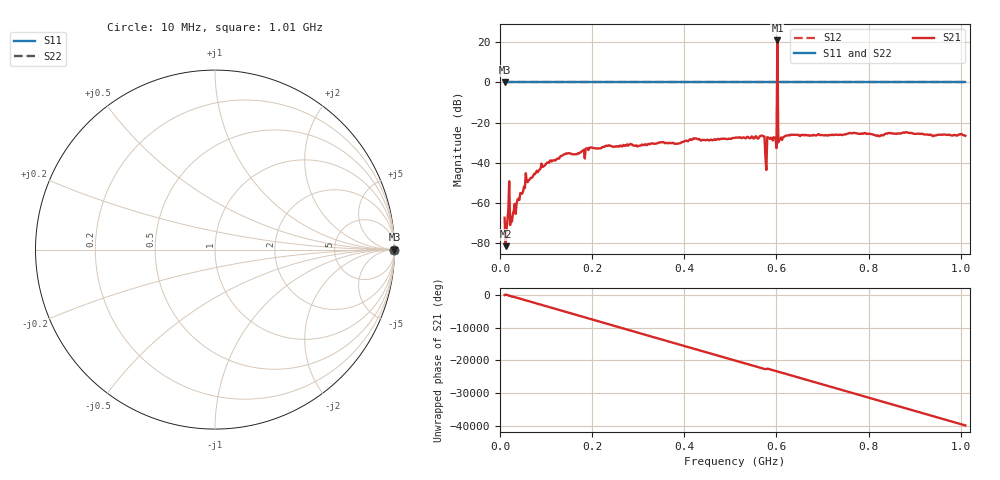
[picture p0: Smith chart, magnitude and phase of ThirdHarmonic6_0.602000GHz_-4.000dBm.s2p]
! 8/15/2025 7:38:47 PM
! C:\ANRITSUVNA\TEMP\TEMP.S2P
! CHANNEL.1
! TR.MEASUREMENT
! RAW.DATA
! RF.CORRECTION.OFF
! AVERAGING.OFF
! IF.BANDWIDTH: 5KHZ
! SWEEPTYPE:  FREQ.SWEEP(Linear)
! Reference Plane Port Info
! PORT:  PORT1  PORT2
! DISTANCE:  0  m  0  m
! TIME:  0  s  0  s
! PHASE.OFFSET:  0  deg.  0  deg.
! LOSS:  0  dB  0  dB
! REF.LOSS:  0  dB  0  dB
! REF.FREQ:  0  Hz  0  Hz
! Power Info
! POWER:  -20  dBm  -20  dBm
! EFF.POWER:  -20  dBm  -20  dBm
! SOURCE.ATTEN:  0  dB  0  dB
! TEST.ATTEN:  0  dB  0  dB
# GHZ S RI R 50.0
! FREQ.GHZ  S11RE  S11IM  S21RE  S21IM  S12RE  S12IM  S22RE  S22IM
!; PortSelection: Port_12
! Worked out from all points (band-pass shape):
!   501 points, 10 MHz to 1.01 GHz, reference 50 ohm
!   highest |S21| = 20.89 dB at 602 MHz (marker M1); lowest = -81.6 dB at 12 MHz (marker M2)
!   |S21| within 3 dB of the highest: 601.8881 MHz to 602.1182 MHz (230 kHz wide, 0.0382 % of centre)
!   lowest |S11| = 0.0 dB at 10 MHz (marker M3)
!   |S11| at or under -10 dB: nowhere
!   |S22| runs from 0.0 to 0.0 dB; largest |S21 - S12| = 11
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0.01  1 0  -5.37e-05 -0.000422  1 0  1 0
0.012  1 0  3.31e-05 7.65e-05  1 0  1 0
0.02  1 0  0.0023 0.00256  1 0  1 0
0.024  1 0  0.000177 -0.000412  1 0  1 0
0.026  1 0  -0.000204 0.000273  1 0  1 0
0.06  1 0  0.00142 -0.00295  1 0  1 0
0.106  1 0  -0.00755 -0.00651  1 0  1 0
0.178  1 0  -0.0193 -0.00317  1 0  1 0
0.344  1 0  0.0294 -0.00997  1 0  1 0
0.51  1 0  -0.036 0.0211  1 0  1 0
0.57  1 0  -0.0131 -0.0449  1 0  1 0
0.574  1 0  0.000157 0.0449  1 0  1 0
0.58  1 0  -0.0375 -0.0215  1 0  1 0
0.584  1 0  0.0271 0.0309  1 0  1 0
0.596  1 0  0.0138 -0.0392  1 0  1 0
0.598  1 0  -0.0347 -0.0224  1 0  1 0
0.602  1 0  0.45 11.07  1 0  1 0
0.606  1 0  -0.0116 -0.0343  1 0  1 0
0.608  1 0  -0.0386 0.00222  1 0  1 0
0.678  1 0  -0.0306 -0.0362  1 0  1 0
0.844  1 0  0.049 0.0246  1 0  1 0
1.01  1 0  -0.0467 0.00294  1 0  1 0
